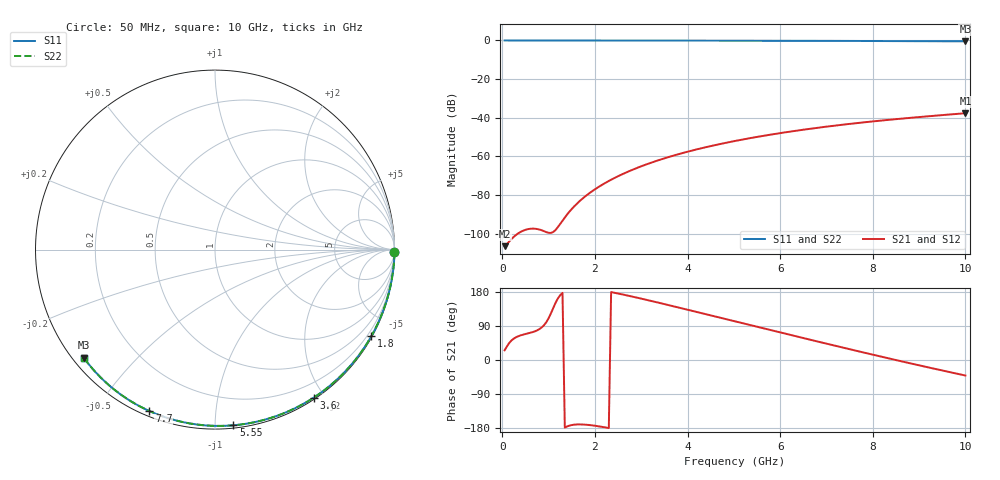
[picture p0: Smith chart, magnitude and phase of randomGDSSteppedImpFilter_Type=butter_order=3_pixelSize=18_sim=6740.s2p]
! freq	dB(S11)	phase(S11)	dB(S12)	phase(S12)
!  dB(S21)	phase(S21)	dB(S22)	phase(S22)
!S-par simulation data
#  GHz  S  DB  R 50
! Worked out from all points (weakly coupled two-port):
!   200 points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, 50 MHz to 10 GHz, reference 50 ohm
!   highest |S21| = -37.69 dB at 10 GHz (marker M1); lowest = -106.5 dB at 50 MHz (marker M2)
!   lowest |S11| = -0.5 dB at 10 GHz (marker M3), VSWR 37.02, Z = 1.52 - j17.9 ohm
!   |S11| at or under -10 dB: nowhere
!   |S22| runs from -0.5 to 0.0 dB; largest |S21 - S12| = 0
!   S11 on the Smith chart (normalised r, x): 50 MHz: open; 1.8 GHz: 0.03, -3.88; 3.6 GHz: 0.02, -1.87; 5.55 GHz: 0.02, -1.11; 7.7 GHz: 0.02, -0.67; 10 GHz: 0.03, -0.36
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0.05  -0.00 -0.8  -106.54 25.7  -106.54 25.7  -0.00 -0.8
0.45  -0.01 -7.3  -98.52 67.0  -98.52 67.0  -0.01 -7.3
0.9  -0.02 -14.6  -98.76 91.7  -98.76 91.7  -0.02 -14.6
1.75  -0.04 -28.1  -81.54 -170.3  -81.54 -170.3  -0.04 -28.1
1.8  -0.04 -28.9  -80.57 -170.7  -80.57 -170.7  -0.04 -28.9
1.85  -0.04 -29.7  -79.64 -171.2  -79.64 -171.2  -0.04 -29.7
2.05  -0.04 -32.8  -76.30 -174.4  -76.30 -174.4  -0.04 -32.8
2.25  -0.05 -35.9  -73.42 -178.5  -73.42 -178.5  -0.05 -35.9
2.55  -0.05 -40.5  -69.73 174.2  -69.73 174.2  -0.05 -40.5
2.95  -0.06 -46.7  -65.63 163.4  -65.63 163.4  -0.06 -46.6
3.4  -0.07 -53.4  -61.81 150.5  -61.81 150.5  -0.07 -53.4
3.6  -0.08 -56.4  -60.31 144.6  -60.31 144.6  -0.08 -56.4
3.9  -0.08 -60.8  -58.26 135.7  -58.26 135.7  -0.08 -60.8
4.3  -0.09 -66.6  -55.82 123.7  -55.82 123.7  -0.09 -66.6
5.05  -0.12 -77.2  -51.94 101.1  -51.94 101.1  -0.12 -77.2
5.55  -0.14 -84.0  -49.75 86.2  -49.75 86.2  -0.14 -84.0
6.1  -0.16 -91.4  -47.62 69.8  -47.62 69.8  -0.16 -91.4
6.7  -0.19 -99.3  -45.57 52.0  -45.57 52.0  -0.19 -99.3
7.7  -0.26 -112.1  -42.68 22.7  -42.68 22.7  -0.26 -112.1
8.35  -0.31 -120.2  -41.09 4.1  -41.09 4.1  -0.31 -120.2
9.2  -0.38 -130.7  -39.26 -19.5  -39.26 -19.5  -0.38 -130.7
10  -0.47 -140.5  -37.69 -41.0  -37.69 -41.0  -0.47 -140.5
